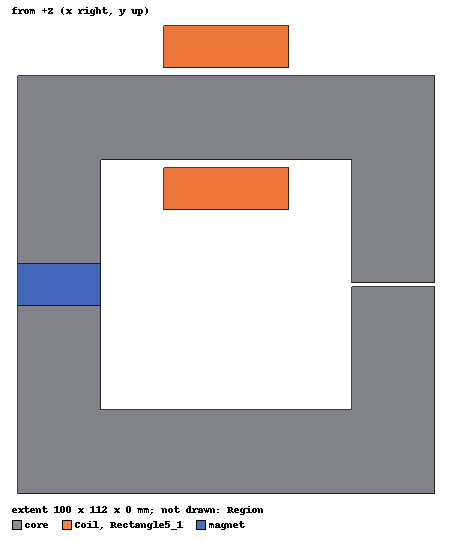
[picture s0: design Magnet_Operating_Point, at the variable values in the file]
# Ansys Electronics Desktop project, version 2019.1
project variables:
  $dm = 10mm
  $g = 1mm
  $Sigma = 58000000*(1/(1+0.00393*($Coil_Temp-20cel)))  # Copper Conductivity in S/m
  $Coil_Temp = 20cel  # Temperature of Coil in Celsius
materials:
  N38UH_Y_axis: permittivity=1 permeability{BType=normal HUnit=A_per_meter BUnit=tesla curve (-761000, -0.9901) (-760000, -0.6971) (-755000, -0.2026) (-743000, -0.0415) (-734000, 0.0008) (-725000, 0.0285) (-716000, 0.0501) (-708000, 0.0685) (-699000, 0.085) (-690000, 0.1003) (-681000, 0.1149) (-672000, 0.1288) (-663000, 0.1424) (-654000, 0.1556) (-645000, 0.1686) (-636000, 0.1814) (-627000, 0.1941) (-618000, 0.2066) (-609000, 0.2191) (-600000, 0.2314) (-591000, 0.2437) (-582000, 0.2559) (-573000, 0.268) (-564000, 0.2802) (-555000, 0.2922) (-546000, 0.3043) (-537000, 0.3163) (-528000, 0.3282) (-519000, 0.3402) (-510000, 0.3521) (-502000, 0.364) (-493000, 0.3759) (-484000, 0.3878) (-475000, 0.3997) (-466000, 0.4115) (-457000, 0.4234) (-448000, 0.4352) (-439000, 0.447) (-430000, 0.4588) (-421000, 0.4706) (-412000, 0.4824) (-403000, 0.4942) (-394000, 0.506) (-385000, 0.5178) (-376000, 0.5295) (-367000, 0.5413) (-358000, 0.5531) (-349000, 0.5648) (-340000, 0.5766) (-331000, 0.5883) (-322000, 0.6) (-313000, 0.6118) (-304000, 0.6235) (-296000, 0.6352) (-287000, 0.647) (-278000, 0.6587) (-269000, 0.6704) (-260000, 0.6821) (-251000, 0.6938) (-242000, 0.7056) (-233000, 0.7173) (-224000, 0.729) (-215000, 0.7407) (-206000, 0.7524) (-197000, 0.7641) (-188000, 0.7758) (-179000, 0.7875) (-170000, 0.7992) (-161000, 0.8109) (-152000, 0.8226) (-143000, 0.8343) (-134000, 0.846) (-125000, 0.8577) (-116000, 0.8694) (-107000, 0.881) (-99000, 0.8927) (-90000, 0.9044) (-81000, 0.9161) (-72000, 0.9278) (-63000, 0.9395) (-54000, 0.9512) (-45000, 0.9628) (-36000, 0.9745) (-27000, 0.9862) (-18000, 0.9979) (-9000, 1.0096) (0, 1.0212)} conductivity=625000 magnetic_coercivity{Magnitude=-733575.87A_per_meter DirComp1=0 DirComp2=1 DirComp3=0} lande_g_factor=2
  cast_iron: permeability=100000 conductivity=1500000
  copper: permeability=0.999991 conductivity=58000000
  vacuum: permittivity=1

design Magnet_Operating_Point (Maxwell 2D, Magnetostatic, XY geometry, model units mm)
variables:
  coil_mmf = 2kA
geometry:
  core [cast_iron] = rectangle(corner=(0mm, 0mm, 0mm), x_size=10cm, y_size=10cm)
  Rectangle2 = rectangle(corner=(20mm, 20mm, 0mm), x_size=60mm, y_size=60mm)
  core.subtract(Rectangle2)
  magnet [N38UH_Y_axis] = rectangle(corner=(0mm, 50mm-$dm/2, 0mm), x_size=20mm, y_size=$dm)
  Rectangle3_1 = magnet.copy()
  core.subtract(Rectangle3_1)
  Rectangle4 = rectangle(corner=(80mm, 50mm-$g/2, 0mm), x_size=20mm, y_size=$g)
  core.subtract(Rectangle4)
  Coil [copper] = rectangle(corner=(35mm, 68mm, 0mm), x_size=30mm, y_size=10mm)
  Rectangle5_1 [copper] = Coil.duplicate_mirror(point=(48mm, 90mm, 0mm), normal=(0mm, 1mm, 0mm))
  Region [vacuum] = region(percentage_offset: +X=100, -X=100, +Y=100, -Y=100, +Z=0, -Z=0)
  Polyline_Bg = polyline((80mm, 50mm, 0mm) (100mm, 50mm, 0mm))
  Polyline_Bm = polyline((0mm, 50mm, 0mm) (20mm, 50mm, 0mm))
  Polyline_Hm = polyline((10mm, 45mm, 0mm) (10mm, 55mm, 0mm))
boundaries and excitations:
  VectorPotential1: Vector Potential Edges=Region.edge(all 4) Value=0
  Current2: Current Objects=Coil Current=coil_mmf IsPositive=true
  Current1: Current Objects=Rectangle5_1 Current=coil_mmf IsPositive=false
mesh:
  mesh: LengthBased RefineInside Objects=[core, Coil, Rectangle5_1, magnet] MaxLength=3mm
  initial mesh: MeshMethod=AnsoftTAU
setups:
  Setup1: Magnetostatic MaximumPasses=15 MinimumPasses=2 MinimumConvergedPasses=1 PercentRefinement=30 PercentError=0.3 NonLinearResidual=0.0001
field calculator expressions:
  B_y = Fundamental_Quantity(22) | ScalarY
  H_y = Fundamental_Quantity(21) | ScalarY
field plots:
  Flux_Lines1: A over core, magnet, Coil, Rectangle5_1, Region on Setup1 : LastAdaptive
  B_Vector1: B over core, magnet, Coil, Rectangle5_1, Region on Setup1 : LastAdaptive
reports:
  Calculator Expressions Plot 1: B_y vs Distance on Setup1 : LastAdaptive; markers MX1 at x=0.01
  Calculator Expressions Plot 2: B_y vs Distance on Setup1 : LastAdaptive; markers MX1 at x=0.01
  Calculator Expressions Plot 3: H_y vs Distance on Setup1 : LastAdaptive
